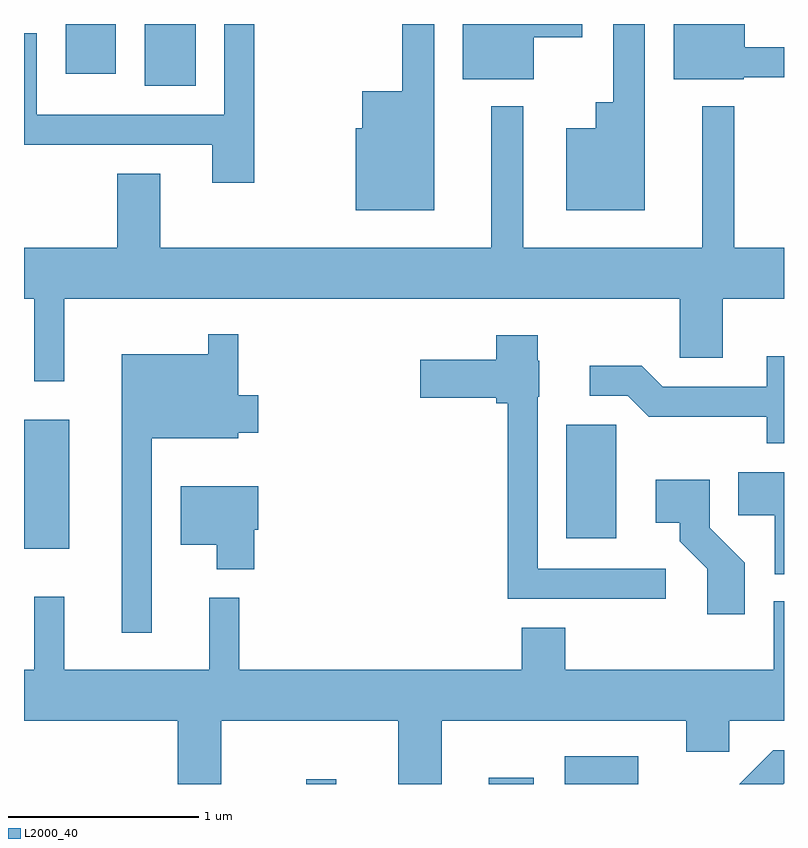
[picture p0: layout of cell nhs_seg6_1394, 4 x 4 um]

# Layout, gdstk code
import gdstk
lib = gdstk.Library(unit=1e-6, precision=1e-09)
def R(c, l, rs):  # rectangles x0, y0, x1, y1
    for r in rs: c.add(gdstk.rectangle(r[:2], r[2:], *l))
def P(c, l, *ps):  # polygons
    for p in ps: c.add(gdstk.Polygon(p, *l))
L2000_40 = (2000, 40)

nhs_seg6_1394 = lib.new_cell('nhs_seg6_1394')
R(nhs_seg6_1394, L2000_40, [(229.096,1534.162,229.254,1534.188), (230.056,1534.162,230.294,1534.194), (230.456,1534.162,230.843,1534.309), (227.611,1535.401,227.849,1536.079), (230.466,1535.456,230.729,1536.054), (228.246,1537.836,228.514,1538.162), (227.831,1537.901,228.094,1538.162)])
P(nhs_seg6_1394, L2000_40, [(229.769,1538.162),(229.601,1538.162),(229.601,1537.809),(229.391,1537.809),(229.391,1537.614),(229.356,1537.614),(229.356,1537.181),(229.769,1537.181)],
  [(230.294,1538.091),(230.549,1538.091),(230.549,1538.162),(229.921,1538.162),(229.921,1537.871),(230.294,1537.871)],
  [(228.824,1538.162),(228.666,1538.162),(228.666,1537.684),(227.679,1537.684),(227.679,1538.113),(227.611,1538.113),(227.611,1537.526),(228.601,1537.526),(228.601,1537.326),(228.824,1537.326)],
  [(231.4,1537.881),(231.611,1537.881),(231.611,1538.039),(231.404,1538.039),(231.404,1538.162),(231.031,1538.162),(231.031,1537.871),(231.4,1537.871)],
  [(230.879,1538.162),(230.711,1538.162),(230.711,1537.749),(230.621,1537.749),(230.621,1537.614),(230.466,1537.614),(230.466,1537.181),(230.879,1537.181)],
  [(231.061,1536.406),(231.289,1536.406),(231.289,1536.716),(231.611,1536.716),(231.611,1536.984),(231.349,1536.984),(231.349,1537.728),(231.181,1537.728),(231.181,1536.984),(230.239,1536.984),(230.239,1537.728),(230.071,1537.728),(230.071,1536.984),(228.329,1536.984),(228.329,1537.374),(228.101,1537.374),(228.101,1536.984),(227.611,1536.984),(227.611,1536.716),(227.666,1536.716),(227.666,1536.283),(227.824,1536.283),(227.824,1536.716),(231.061,1536.716)],
  [(228.284,1535.981),(228.739,1535.981),(228.739,1536.011),(228.844,1536.011),(228.844,1536.209),(228.739,1536.209),(228.739,1536.528),(228.581,1536.528),(228.581,1536.424),(228.126,1536.424),(228.126,1534.958),(228.284,1534.958)],
  [(230.988,1535.294),(230.314,1535.294),(230.314,1536.2),(230.324,1536.2),(230.324,1536.39),(230.314,1536.39),(230.314,1536.524),(230.096,1536.524),(230.096,1536.394),(229.696,1536.394),(229.696,1536.196),(230.096,1536.196),(230.096,1536.166),(230.156,1536.166),(230.156,1535.136),(230.988,1535.136)],
  [(231.611,1536.414),(231.521,1536.414),(231.521,1536.254),(230.972,1536.254),(230.862,1536.364),(230.588,1536.364),(230.588,1536.206),(230.789,1536.206),(230.899,1536.096),(231.521,1536.096),(231.521,1535.956),(231.611,1535.956)],
  [(231.611,1535.804),(231.371,1535.804),(231.371,1535.576),(231.561,1535.576),(231.561,1535.266),(231.611,1535.266)],
  [(231.404,1535.327),(231.219,1535.512),(231.219,1535.764),(230.936,1535.764),(230.936,1535.536),(231.061,1535.536),(231.061,1535.439),(231.206,1535.294),(231.206,1535.056),(231.404,1535.056)],
  [(228.824,1535.501),(228.844,1535.501),(228.844,1535.729),(228.436,1535.729),(228.436,1535.421),(228.626,1535.421),(228.626,1535.291),(228.824,1535.291)],
  [(228.649,1534.496),(229.581,1534.496),(229.581,1534.162),(229.809,1534.162),(229.809,1534.496),(231.096,1534.496),(231.096,1534.331),(231.324,1534.331),(231.324,1534.496),(231.611,1534.496),(231.611,1535.123),(231.556,1535.123),(231.556,1534.764),(230.459,1534.764),(230.459,1534.984),(230.231,1534.984),(230.231,1534.764),(228.744,1534.764),(228.744,1535.143),(228.586,1535.143),(228.586,1534.764),(227.824,1534.764),(227.824,1535.148),(227.666,1535.148),(227.666,1534.764),(227.611,1534.764),(227.611,1534.496),(228.421,1534.496),(228.421,1534.162),(228.649,1534.162)],
  [(231.611,1534.165),(231.611,1534.339),(231.554,1534.339),(231.376,1534.162),(231.608,1534.162)])

lib.write_gds('nhs_seg6_1394.gds')
